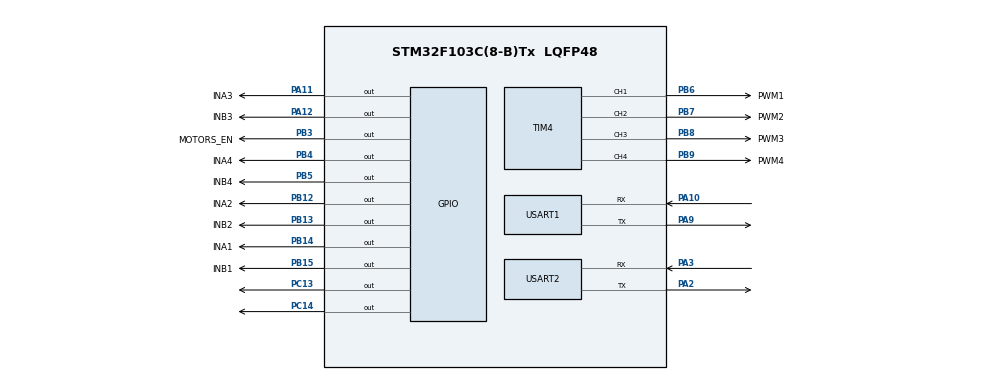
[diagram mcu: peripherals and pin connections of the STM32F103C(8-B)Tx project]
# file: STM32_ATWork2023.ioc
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Mcu.Family=STM32F1
Mcu.Name=STM32F103C(8-B)Tx
Mcu.Package=LQFP48
NVIC.PriorityGroup=NVIC_PRIORITYGROUP_4
PA10.Mode=Asynchronous
PA10.Signal=USART1_RX
PA11.GPIO_Label=INA3
PA11.Signal=GPIO_Output
PA12.GPIO_Label=INB3
PA12.Signal=GPIO_Output
PA13.Mode=Serial_Wire
PA13.Signal=SYS_JTMS-SWDIO
PA14.Mode=Serial_Wire
PA14.Signal=SYS_JTCK-SWCLK
PA2.Mode=Asynchronous
PA2.Signal=USART2_TX
PA3.Mode=Asynchronous
PA3.Signal=USART2_RX
PA9.Mode=Asynchronous
PA9.Signal=USART1_TX
PB12.GPIO_Label=INA2
PB12.Signal=GPIO_Output
PB13.GPIO_Label=INB2
PB13.Signal=GPIO_Output
PB14.GPIO_Label=INA1
PB14.Signal=GPIO_Output
PB15.GPIO_Label=INB1
PB15.Signal=GPIO_Output
PB3.GPIO_Label=MOTORS_EN
PB3.Signal=GPIO_Output
PB4.GPIO_Label=INA4
PB4.Signal=GPIO_Output
PB5.GPIO_Label=INB4
PB5.Signal=GPIO_Output
PB6.GPIO_Label=PWM1
PB6.Signal=S_TIM4_CH1
PB7.GPIO_Label=PWM2
PB7.Signal=S_TIM4_CH2
PB8.GPIO_Label=PWM3
PB8.Signal=S_TIM4_CH3
PB9.GPIO_Label=PWM4
PB9.Signal=S_TIM4_CH4
PC13-TAMPER-RTC.Signal=GPIO_Output
PC14-OSC32_IN.Signal=GPIO_Output
PD0-OSC_IN.Mode=HSE-External-Oscillator
PD0-OSC_IN.Signal=RCC_OSC_IN
PD1-OSC_OUT.Mode=HSE-External-Oscillator
PD1-OSC_OUT.Signal=RCC_OSC_OUT
ProjectManager.HeapSize=0x200
ProjectManager.StackSize=0x400
ProjectManager.TargetToolchain=STM32CubeIDE
RCC.APB1Freq_Value=8000000
RCC.APB2Freq_Value=8000000
SH.S_TIM4_CH1.0=TIM4_CH1,PWM Generation1 CH1
SH.S_TIM4_CH2.0=TIM4_CH2,PWM Generation2 CH2
SH.S_TIM4_CH3.0=TIM4_CH3,PWM Generation3 CH3
SH.S_TIM4_CH4.0=TIM4_CH4,PWM Generation4 CH4
TIM4.Channel-PWM\ Generation1\ CH1=TIM_CHANNEL_1
TIM4.Channel-PWM\ Generation2\ CH2=TIM_CHANNEL_2
TIM4.Channel-PWM\ Generation3\ CH3=TIM_CHANNEL_3
TIM4.Channel-PWM\ Generation4\ CH4=TIM_CHANNEL_4
USART1.VirtualMode=VM_ASYNC
USART2.VirtualMode=VM_ASYNC
board=custom

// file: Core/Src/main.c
/* USER CODE BEGIN Header */
/**
  ******************************************************************************
  * @file           : main.c
  * @brief          : Main program body
  ******************************************************************************
  * @attention
  *
  * Copyright (c) 2023 STMicroelectronics.
  * All rights reserved.
  *
  * This software is licensed under terms that can be found in the LICENSE file
  * in the root directory of this software component.
  * If no LICENSE file comes with this software, it is provided AS-IS.
  *
  ******************************************************************************
  */
/* USER CODE END Header */
#include "main.h"

 TIM_HandleTypeDef htim4;

UART_HandleTypeDef huart1;
UART_HandleTypeDef huart2;

void SystemClock_Config(void);
static void MX_GPIO_Init(void);
static void MX_TIM4_Init(void);
static void MX_USART2_UART_Init(void);
static void MX_USART1_UART_Init(void);

/* USER CODE BEGIN 0 */
int v = 20;
uint8_t buffer[9], s;
int l1, l2, r2, r1;
uint8_t buff[8];
int16_t Pitch=0, Roll=0, Heading=0;
int counter = 0;

uint8_t GY_A5[] = {0xA5};
uint8_t GY_54[] = {0x54};
uint8_t GY_51[] = {0x51};
uint8_t GY_55[] = {0x55};
uint8_t GY_Init_Command[]    = {0xA5, 0x54, 0xA5, 0x51};
uint8_t GY_Request_Command[] = {0xA5, 0x51};

void motor(int L1, int L2, int R2, int R1){
	L1 = L1*255;
	L2 = L2*255;
	R2 = R2*255;
	R1 = R1*255;

	if(L1 > 65535) L1 = 65535;
	if(L2 > 65535) L2 = 65535;
	if(R2 > 65535) R2 = 65535;
	if(R1 > 65535) R1 = 65535;

	if(L1 < -65535) L1 = -65535;
	if(L2 < -65535) L2 = -65535;
	if(R2 < -65535) R2 = -65535;
	if(R1 < -65535) R1 = -65535;

	// ------------------ L1
	if(L1 == 0){
		HAL_GPIO_WritePin(INA1_GPIO_Port, INA1_Pin, 0);
		HAL_GPIO_WritePin(INB1_GPIO_Port, INB1_Pin, 0);
		TIM4->CCR1 = 65535;
	}
	else if(L1 > 0){
		HAL_GPIO_WritePin(INA1_GPIO_Port, INA1_Pin, 1);
		HAL_GPIO_WritePin(INB1_GPIO_Port, INB1_Pin, 0);
		TIM4->CCR1 = L1;
	}else{
		HAL_GPIO_WritePin(INA1_GPIO_Port, INA1_Pin, 0);
		HAL_GPIO_WritePin(INB1_GPIO_Port, INB1_Pin, 1);
		TIM4->CCR1 = -L1;
	}
	// ------------------ L2
	if(L2 == 0){
		HAL_GPIO_WritePin(INA2_GPIO_Port, INA2_Pin, 0);
		HAL_GPIO_WritePin(INB2_GPIO_Port, INB2_Pin, 0);
		TIM4->CCR2 = 65535;
	}
	else if(L2 > 0){
		HAL_GPIO_WritePin(INA2_GPIO_Port, INA2_Pin, 1);
		HAL_GPIO_WritePin(INB2_GPIO_Port, INB2_Pin, 0);
		TIM4->CCR2 = L2;
	}else{
		HAL_GPIO_WritePin(INA2_GPIO_Port, INA2_Pin, 0);
		HAL_GPIO_WritePin(INB2_GPIO_Port, INB2_Pin, 1);
		TIM4->CCR2 = -L2;
	}
	// ------------------ R2
	if(R2 == 0){
		HAL_GPIO_WritePin(INA3_GPIO_Port, INA3_Pin, 0);
		HAL_GPIO_WritePin(INB3_GPIO_Port, INB3_Pin, 0);
		TIM4->CCR3 = 65535;
	}
	else if(R2 > 0){
		HAL_GPIO_WritePin(INA3_GPIO_Port, INA3_Pin, 1);
		HAL_GPIO_WritePin(INB3_GPIO_Port, INB3_Pin, 0);
		TIM4->CCR3 = R2;
	}else{
		HAL_GPIO_WritePin(INA3_GPIO_Port, INA3_Pin, 0);
		HAL_GPIO_WritePin(INB3_GPIO_Port, INB3_Pin, 1);
		TIM4->CCR3 = -R2;
	}
	// ------------------ R1
	if(R1 == 0){
		HAL_GPIO_WritePin(INA4_GPIO_Port, INA4_Pin, 0);
		HAL_GPIO_WritePin(INB4_GPIO_Port, INB4_Pin, 0);
		TIM4->CCR4 = 65535;
	}
	else if(R1 > 0){
		HAL_GPIO_WritePin(INA4_GPIO_Port, INA4_Pin, 1);
		HAL_GPIO_WritePin(INB4_GPIO_Port, INB4_Pin, 0);
		TIM4->CCR4 = R1;
	}else{
		HAL_GPIO_WritePin(INA4_GPIO_Port, INA4_Pin, 0);
		HAL_GPIO_WritePin(INB4_GPIO_Port, INB4_Pin, 1);
		TIM4->CCR4 = -R1;
	}
}
void stop(){
	motor(0,0,0,0);
}
void move(int direction){
	if(direction == 0)  motor( v,  v, -v, -v);
	if(direction == 2)  motor( v,  0, -v,  0);
	if(direction == 4)  motor( v, -v, -v,  v);
	if(direction == 6)  motor( 0, -v,  0,  v);
	if(direction == 8)  motor(-v, -v,  v,  v);
	if(direction == 10) motor(-v,  0,  v,  0);
	if(direction == 12) motor(-v,  v,  v, -v);
	if(direction == 14) motor( 0,  v,  0, -v);
}
void initGY(){
	HAL_Delay(500);
	HAL_UART_Transmit_IT(&huart2, GY_A5, 1);
	HAL_UART_Transmit_IT(&huart2, GY_54, 1);
	HAL_Delay(500);
	HAL_UART_Transmit_IT(&huart2, GY_A5, 1);
	HAL_UART_Transmit_IT(&huart2, GY_51, 1);
	HAL_Delay(500);
	HAL_UART_Transmit_IT(&huart2, GY_A5, 1);
	HAL_UART_Transmit_IT(&huart2, GY_55, 1);
}
void readGY(){
	HAL_UART_Transmit_IT(&huart2, GY_A5, 1);
	HAL_UART_Transmit_IT(&huart2, GY_51, 1);
//	HAL_UART_Receive(&huart2, buff, 8, PHY_FULLDUPLEX_100M);
//	if(buff[0] != 0x55 || buff[1] != 0xAA) return;
//	Heading = (int16_t)(buff[2]<<8 | buff[3])/100.00;
//	Pitch = (int16_t)(buff[4]<<8 | buff[5])/100.00;
//	Roll = (int16_t)(buff[6]<<8 | buff[7])/100.00;
}
/* USER CODE END 0 */

int main(void)
{

  /* MCU Configuration--------------------------------------------------------*/

  /* Reset of all peripherals, Initializes the Flash interface and the Systick. */
  HAL_Init();

  /* Configure the system clock */
  SystemClock_Config();

  /* Initialize all configured peripherals */
  MX_GPIO_Init();
  MX_TIM4_Init();
  MX_USART2_UART_Init();
  MX_USART1_UART_Init();
  /* USER CODE BEGIN 2 */
  HAL_TIM_PWM_Start(&htim4, TIM_CHANNEL_1);
  HAL_TIM_PWM_Start(&htim4, TIM_CHANNEL_2);
  HAL_TIM_PWM_Start(&htim4, TIM_CHANNEL_3);
  HAL_TIM_PWM_Start(&htim4, TIM_CHANNEL_4);

  HAL_GPIO_WritePin(GPIOC, GPIO_PIN_13, 1); // Red LED
  HAL_GPIO_WritePin(GPIOC, GPIO_PIN_14, 0); // Red LED
  for(int i=0; i<5; i++){
	  HAL_Delay(100);
	  HAL_GPIO_TogglePin(GPIOC, GPIO_PIN_14); // Red LED
	  HAL_GPIO_TogglePin(GPIOC, GPIO_PIN_13); // Green LED
  }
  RED_OFF;
  GREEN_OFF;
  HAL_GPIO_WritePin(GPIOB, GPIO_PIN_3, 1); // Motors Enable
  HAL_UART_Transmit_DMA(&huart2, GY_Init_Command, sizeof(GY_Init_Command));
  HAL_UART_Receive_DMA(&huart2, buff, sizeof(buff));
//  initGY();
//  HAL_UART_Receive_IT(&huart1, buffer, 9);
//  HAL_UART_Receive_IT(&huart2, buff, 8);

  /* USER CODE END 2 */

  /* Infinite loop */
  /* USER CODE BEGIN WHILE */
  while (1)
  {
//	readGY();
	HAL_UART_Transmit_DMA(&huart2, GY_Request_Command, sizeof(GY_Request_Command));
	motor(l1+Heading, l2+Heading, r2+Heading, r1+Heading);
//	motor(v+Heading, v+Heading, -v+Heading, -v+Heading);

    /* USER CODE END WHILE */

  }
}

void SystemClock_Config(void)
{
  RCC_OscInitTypeDef RCC_OscInitStruct = {0};
  RCC_ClkInitTypeDef RCC_ClkInitStruct = {0};

  /** Initializes the RCC Oscillators according to the specified parameters
  * in the RCC_OscInitTypeDef structure.
  */
  RCC_OscInitStruct.OscillatorType = RCC_OSCILLATORTYPE_HSI;
  RCC_OscInitStruct.HSIState = RCC_HSI_ON;
  RCC_OscInitStruct.HSICalibrationValue = RCC_HSICALIBRATION_DEFAULT;
  RCC_OscInitStruct.PLL.PLLState = RCC_PLL_NONE;
  if (HAL_RCC_OscConfig(&RCC_OscInitStruct) != HAL_OK)
  {
    Error_Handler();
  }

  /** Initializes the CPU, AHB and APB buses clocks
  */
  RCC_ClkInitStruct.ClockType = RCC_CLOCKTYPE_HCLK|RCC_CLOCKTYPE_SYSCLK
                              |RCC_CLOCKTYPE_PCLK1|RCC_CLOCKTYPE_PCLK2;
  RCC_ClkInitStruct.SYSCLKSource = RCC_SYSCLKSOURCE_HSI;
  RCC_ClkInitStruct.AHBCLKDivider = RCC_SYSCLK_DIV1;
  RCC_ClkInitStruct.APB1CLKDivider = RCC_HCLK_DIV1;
  RCC_ClkInitStruct.APB2CLKDivider = RCC_HCLK_DIV1;

  if (HAL_RCC_ClockConfig(&RCC_ClkInitStruct, FLASH_LATENCY_0) != HAL_OK)
  {
    Error_Handler();
  }
}

static void MX_TIM4_Init(void)
{

  TIM_MasterConfigTypeDef sMasterConfig = {0};
  TIM_OC_InitTypeDef sConfigOC = {0};

  htim4.Instance = TIM4;
  htim4.Init.Prescaler = 0;
  htim4.Init.CounterMode = TIM_COUNTERMODE_UP;
  htim4.Init.Period = 65535;
  htim4.Init.ClockDivision = TIM_CLOCKDIVISION_DIV1;
  htim4.Init.AutoReloadPreload = TIM_AUTORELOAD_PRELOAD_DISABLE;
  if (HAL_TIM_PWM_Init(&htim4) != HAL_OK)
  {
    Error_Handler();
  }
  sMasterConfig.MasterOutputTrigger = TIM_TRGO_RESET;
  sMasterConfig.MasterSlaveMode = TIM_MASTERSLAVEMODE_DISABLE;
  if (HAL_TIMEx_MasterConfigSynchronization(&htim4, &sMasterConfig) != HAL_OK)
  {
    Error_Handler();
  }
  sConfigOC.OCMode = TIM_OCMODE_PWM1;
  sConfigOC.Pulse = 0;
  sConfigOC.OCPolarity = TIM_OCPOLARITY_HIGH;
  sConfigOC.OCFastMode = TIM_OCFAST_DISABLE;
  if (HAL_TIM_PWM_ConfigChannel(&htim4, &sConfigOC, TIM_CHANNEL_1) != HAL_OK)
  {
    Error_Handler();
  }
  if (HAL_TIM_PWM_ConfigChannel(&htim4, &sConfigOC, TIM_CHANNEL_2) != HAL_OK)
  {
    Error_Handler();
  }
  if (HAL_TIM_PWM_ConfigChannel(&htim4, &sConfigOC, TIM_CHANNEL_3) != HAL_OK)
  {
    Error_Handler();
  }
  if (HAL_TIM_PWM_ConfigChannel(&htim4, &sConfigOC, TIM_CHANNEL_4) != HAL_OK)
  {
    Error_Handler();
  }
  HAL_TIM_MspPostInit(&htim4);

}

static void MX_USART1_UART_Init(void)
{

  huart1.Instance = USART1;
  huart1.Init.BaudRate = 115200;
  huart1.Init.WordLength = UART_WORDLENGTH_8B;
  huart1.Init.StopBits = UART_STOPBITS_1;
  huart1.Init.Parity = UART_PARITY_NONE;
  huart1.Init.Mode = UART_MODE_TX_RX;
  huart1.Init.HwFlowCtl = UART_HWCONTROL_NONE;
  huart1.Init.OverSampling = UART_OVERSAMPLING_16;
  if (HAL_UART_Init(&huart1) != HAL_OK)
  {
    Error_Handler();
  }
  /* USER CODE BEGIN USART1_Init 2 */
  	__HAL_UART_ENABLE_IT(&huart1, UART_IT_TC);
  	__HAL_UART_ENABLE_IT(&huart1, UART_IT_RXNE);
  /* USER CODE END USART1_Init 2 */

}

static void MX_USART2_UART_Init(void)
{

  huart2.Instance = USART2;
  huart2.Init.BaudRate = 115200;
  huart2.Init.WordLength = UART_WORDLENGTH_8B;
  huart2.Init.StopBits = UART_STOPBITS_1;
  huart2.Init.Parity = UART_PARITY_NONE;
  huart2.Init.Mode = UART_MODE_TX_RX;
  huart2.Init.HwFlowCtl = UART_HWCONTROL_NONE;
  huart2.Init.OverSampling = UART_OVERSAMPLING_16;
  if (HAL_UART_Init(&huart2) != HAL_OK)
  {
    Error_Handler();
  }
  /* USER CODE BEGIN USART2_Init 2 */
	__HAL_UART_ENABLE_IT(&huart1, UART_IT_TC);
	__HAL_UART_ENABLE_IT(&huart1, UART_IT_RXNE);
  /* USER CODE END USART2_Init 2 */

}

static void MX_GPIO_Init(void)
{
  GPIO_InitTypeDef GPIO_InitStruct = {0};

  /* GPIO Ports Clock Enable */
  __HAL_RCC_GPIOC_CLK_ENABLE();
  __HAL_RCC_GPIOD_CLK_ENABLE();
  __HAL_RCC_GPIOA_CLK_ENABLE();
  __HAL_RCC_GPIOB_CLK_ENABLE();

  /*Configure GPIO pin Output Level */
  HAL_GPIO_WritePin(GPIOC, GPIO_PIN_13|GPIO_PIN_14, GPIO_PIN_RESET);

  /*Configure GPIO pin Output Level */
  HAL_GPIO_WritePin(GPIOB, INA2_Pin|INB2_Pin|INA1_Pin|INB1_Pin
                          |MOTORS_EN_Pin|INA4_Pin|INB4_Pin, GPIO_PIN_RESET);

  /*Configure GPIO pin Output Level */
  HAL_GPIO_WritePin(GPIOA, INA3_Pin|INB3_Pin, GPIO_PIN_RESET);

  /*Configure GPIO pins : PC13 PC14 */
  GPIO_InitStruct.Pin = GPIO_PIN_13|GPIO_PIN_14;
  GPIO_InitStruct.Mode = GPIO_MODE_OUTPUT_PP;
  GPIO_InitStruct.Pull = GPIO_NOPULL;
  GPIO_InitStruct.Speed = GPIO_SPEED_FREQ_LOW;
  HAL_GPIO_Init(GPIOC, &GPIO_InitStruct);

  /*Configure GPIO pins : INA2_Pin INB2_Pin INA1_Pin INB1_Pin
                           MOTORS_EN_Pin INA4_Pin INB4_Pin */
  GPIO_InitStruct.Pin = INA2_Pin|INB2_Pin|INA1_Pin|INB1_Pin
                          |MOTORS_EN_Pin|INA4_Pin|INB4_Pin;
  GPIO_InitStruct.Mode = GPIO_MODE_OUTPUT_PP;
  GPIO_InitStruct.Pull = GPIO_NOPULL;
  GPIO_InitStruct.Speed = GPIO_SPEED_FREQ_LOW;
  HAL_GPIO_Init(GPIOB, &GPIO_InitStruct);

  /*Configure GPIO pins : INA3_Pin INB3_Pin */
  GPIO_InitStruct.Pin = INA3_Pin|INB3_Pin;
  GPIO_InitStruct.Mode = GPIO_MODE_OUTPUT_PP;
  GPIO_InitStruct.Pull = GPIO_NOPULL;
  GPIO_InitStruct.Speed = GPIO_SPEED_FREQ_LOW;
  HAL_GPIO_Init(GPIOA, &GPIO_InitStruct);

}

/* USER CODE BEGIN 4 */
void HAL_UART_RxCpltCallback(UART_HandleTypeDef *huart)
{
//	if(huart == &huart1){
//	RED_ON;
//		HAL_UART_Receive_IT(&huart1, buffer, 9);
//		if(buffer[0] == 'M') {
//		  if(buffer[1]=='-') 	r1 =-(int)buffer[2];
//		  else  				r1 = (int)buffer[2];
//		  ////////////////
//		  if(buffer[3]=='-') 	r2 =-(int)buffer[4];
//		  else  				r2 = (int)buffer[4];
//		  ////////////////
//		  if(buffer[5]=='-') 	l2 =-(int)buffer[6];
//		  else  				l2 = (int)buffer[6];
//		  ////////////////
//		  if(buffer[7]=='-') 	l1 =-(int)buffer[8];
//		  else  				l1 = (int)buffer[8];
//		}
//		RED_OFF;
//	}
	if(huart == &huart2){
		GREEN_ON;
		HAL_UART_Receive_DMA(&huart2, buff, sizeof(buff));
		if(buff[0] == 0x55){
			Heading = (int16_t)(buff[2]<<8 | buff[3])/100.00;
			Pitch = (int16_t)(buff[4]<<8 | buff[5])/100.00;
			Roll = (int16_t)(buff[6]<<8 | buff[7])/100.00;
		}else if(buff[0] == 0xAA){
			Heading = (int16_t)(buff[1]<<8 | buff[2])/100.00;
			Pitch = (int16_t)(buff[3]<<8 | buff[4])/100.00;
			Roll = (int16_t)(buff[5]<<8 | buff[6])/100.00;
		}
		GREEN_OFF;
	}
	__NOP();
}
void HAL_UART_TxCpltCallback(UART_HandleTypeDef *huart)
{
	__NOP();
}

/* USER CODE END 4 */

void Error_Handler(void)
{
  __disable_irq();
  while (1)
  {
  }
}
